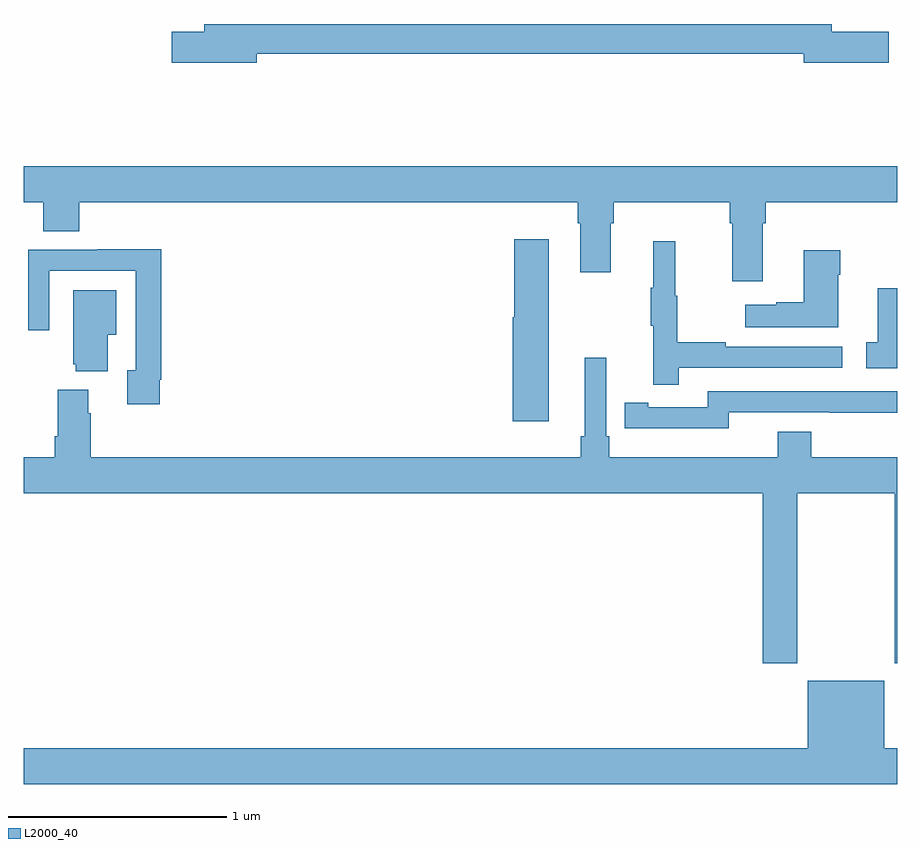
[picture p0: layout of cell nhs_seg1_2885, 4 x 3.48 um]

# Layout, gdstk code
import gdstk
lib = gdstk.Library(unit=1e-6, precision=1e-09)
def P(c, l, *ps):  # polygons
    for p in ps: c.add(gdstk.Polygon(p, *l))
L2000_40 = (2000, 40)

nhs_seg1_2885 = lib.new_cell('nhs_seg1_2885')
P(nhs_seg1_2885, L2000_40, [(268.066,561.736),(270.572,561.736),(270.572,561.694),(270.961,561.694),(270.961,561.836),(270.7,561.836),(270.7,561.872),(267.827,561.872),(267.827,561.836),(267.678,561.836),(267.678,561.694),(268.066,561.694)],
  [(270.385,560.96),(270.398,560.96),(270.398,561.056),(271,561.056),(271,561.22),(267,561.22),(267,561.056),(267.089,561.056),(267.089,560.923),(267.254,560.923),(267.254,561.056),(269.537,561.056),(269.537,560.96),(269.549,560.96),(269.549,560.736),(269.689,560.736),(269.689,560.96),(269.702,560.96),(269.702,561.056),(270.233,561.056),(270.233,560.96),(270.245,560.96),(270.245,560.694),(270.385,560.694)],
  [(269.404,560.887),(269.246,560.887),(269.246,560.529),(269.24,560.529),(269.24,560.052),(269.404,560.052)],
  [(269.999,560.298),(270.748,560.298),(270.748,560.394),(270.215,560.394),(270.215,560.414),(269.992,560.414),(269.992,560.628),(269.984,560.628),(269.984,560.878),(269.882,560.878),(269.882,560.665),(269.871,560.665),(269.871,560.491),(269.882,560.491),(269.882,560.22),(269.999,560.22)],
  [(267.622,560.242),(267.629,560.242),(267.629,560.84),(267.337,560.84),(267.337,560.838),(267.021,560.838),(267.021,560.469),(267.117,560.469),(267.117,560.742),(267.513,560.742),(267.513,560.286),(267.473,560.286),(267.473,560.13),(267.622,560.13)],
  [(270.73,560.723),(270.738,560.723),(270.738,560.836),(270.572,560.836),(270.572,560.597),(270.446,560.597),(270.446,560.587),(270.303,560.587),(270.303,560.483),(270.73,560.483)],
  [(271,560.662),(270.911,560.662),(270.911,560.415),(270.858,560.415),(270.858,560.295),(271,560.295)],
  [(267.385,560.45),(267.424,560.45),(267.424,560.653),(267.227,560.653),(267.227,560.313),(267.239,560.313),(267.239,560.282),(267.385,560.282)],
  [(270.543,559.724),(270.988,559.724),(270.988,558.945),(271,558.945),(271,559.888),(270.605,559.888),(270.605,560.005),(270.452,560.005),(270.452,559.888),(269.681,559.888),(269.681,559.984),(269.667,559.984),(269.667,560.344),(269.57,560.344),(269.57,559.984),(269.551,559.984),(269.551,559.888),(267.308,559.888),(267.308,560.09),(267.295,560.09),(267.295,560.197),(267.155,560.197),(267.155,559.984),(267.143,559.984),(267.143,559.888),(267,559.888),(267,559.724),(270.383,559.724),(270.383,558.945),(270.543,558.945)],
  [(270.228,560.094),(270.688,560.094),(270.688,560.093),(271,560.093),(271,560.19),(270.132,560.19),(270.132,560.118),(269.86,560.118),(269.86,560.138),(269.752,560.138),(269.752,560.022),(269.86,560.022),(269.86,560.021),(270.228,560.021)],
  [(271,558.556),(270.94,558.556),(270.94,558.865),(270.59,558.865),(270.59,558.556),(267,558.556),(267,558.392),(271,558.392)])

lib.write_gds('nhs_seg1_2885.gds')
